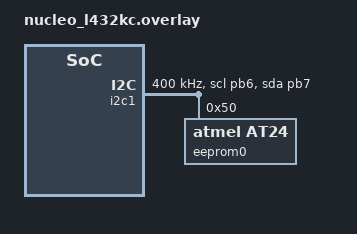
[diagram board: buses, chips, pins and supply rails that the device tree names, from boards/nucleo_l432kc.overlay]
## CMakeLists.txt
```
cmake_minimum_required(VERSION 3.13.1)

find_package(Zephyr REQUIRED HINTS $ENV{ZEPHYR_BASE})
project(eeprm_test LANGUAGES C)

target_sources(app PRIVATE src/main.c)
```

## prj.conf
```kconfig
CONFIG_I2C=y
CONFIG_EEPROM=y
CONFIG_PRINTK=y
CONFIG_SERIAL=y
CONFIG_CONSOLE=y
CONFIG_UART_CONSOLE=y

CONFIG_MAIN_STACK_SIZE=2048
```

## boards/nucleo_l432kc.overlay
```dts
#include <zephyr/dt-bindings/i2c/i2c.h>

/ {
	aliases {
		eeprom-0 = &eeprom0;
	};
};

&i2c1 {
	pinctrl-0 = <&i2c1_scl_pb6 &i2c1_sda_pb7>;
	pinctrl-names = "default";
	clock-frequency = <I2C_BITRATE_FAST>;
	status = "okay";

	eeprom0: eeprom@50 {
		compatible = "atmel,at24";
		reg = <0x50>;
		size = <4096>;
		pagesize = <32>;
		address-width = <16>;
		timeout = <10>;
	};
};
```

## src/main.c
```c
#include <zephyr/device.h>
#include <zephyr/devicetree.h>
#include <zephyr/drivers/eeprom.h>
#include <zephyr/kernel.h>
#include <zephyr/sys/printk.h>

#include <stdbool.h>
#include <stdint.h>
#include <string.h>

#define EEPROM_NODE DT_ALIAS(eeprom_0)

#if !DT_NODE_HAS_STATUS(EEPROM_NODE, okay)
#error "EEPROM alias eeprom-0 is not enabled in devicetree"
#endif

#define TEST_OFFSET 0x0100U
#define TEST_LEN    32U

static const struct device *const eeprom = DEVICE_DT_GET(EEPROM_NODE);

static void dump_block(const char *label, const uint8_t *buf, size_t len)
{
	printk("%s", label);
	for (size_t i = 0; i < len; i++) {
		printk(" %02x", buf[i]);
	}
	printk("\n");
}

static bool write_and_verify(uint32_t offset, const uint8_t *wr, uint8_t *rd,
			     size_t len)
{
	int ret;

	ret = eeprom_write(eeprom, offset, wr, len);
	if (ret != 0) {
		printk("EEPROM write failed at 0x%04x: %d\n", offset, ret);
		return false;
	}

	ret = eeprom_read(eeprom, offset, rd, len);
	if (ret != 0) {
		printk("EEPROM read failed at 0x%04x: %d\n", offset, ret);
		return false;
	}

	if (memcmp(wr, rd, len) != 0) {
		printk("EEPROM verify failed at 0x%04x\n", offset);
		dump_block("Wrote:", wr, len);
		dump_block("Read: ", rd, len);
		return false;
	}

	return true;
}

int main(void)
{
	uint8_t original[TEST_LEN];
	uint8_t pattern_a[TEST_LEN];
	uint8_t pattern_b[TEST_LEN];
	uint8_t readback[TEST_LEN];
	int ret;

	printk("24LC32AT EEPROM test start\n");
	printk("I2C 7-bit address: 0x50 (binary 1010000)\n");

	if (!device_is_ready(eeprom)) {
		printk("EEPROM device is not ready\n");
		return 0;
	}

	printk("EEPROM size: %zu bytes\n", eeprom_get_size(eeprom));
	printk("Test offset: 0x%04x, length: %u bytes\n", TEST_OFFSET, TEST_LEN);

	for (size_t i = 0; i < TEST_LEN; i++) {
		pattern_a[i] = (uint8_t)(0xA0U + i);
		pattern_b[i] = (uint8_t)(0x5FU - i);
	}

	ret = eeprom_read(eeprom, TEST_OFFSET, original, sizeof(original));
	if (ret != 0) {
		printk("Initial EEPROM read failed: %d\n", ret);
		return 0;
	}

	dump_block("Original:", original, sizeof(original));

	if (!write_and_verify(TEST_OFFSET, pattern_a, readback, sizeof(pattern_a))) {
		return 0;
	}
	printk("Pattern A OK\n");

	if (!write_and_verify(TEST_OFFSET, pattern_b, readback, sizeof(pattern_b))) {
		return 0;
	}
	printk("Pattern B OK\n");

	ret = eeprom_write(eeprom, TEST_OFFSET, original, sizeof(original));
	if (ret != 0) {
		printk("Original restore failed: %d\n", ret);
		return 0;
	}

	printk("Original block restored\n");
	printk("24LC32AT EEPROM test PASS\n");

	return 0;
}
```
